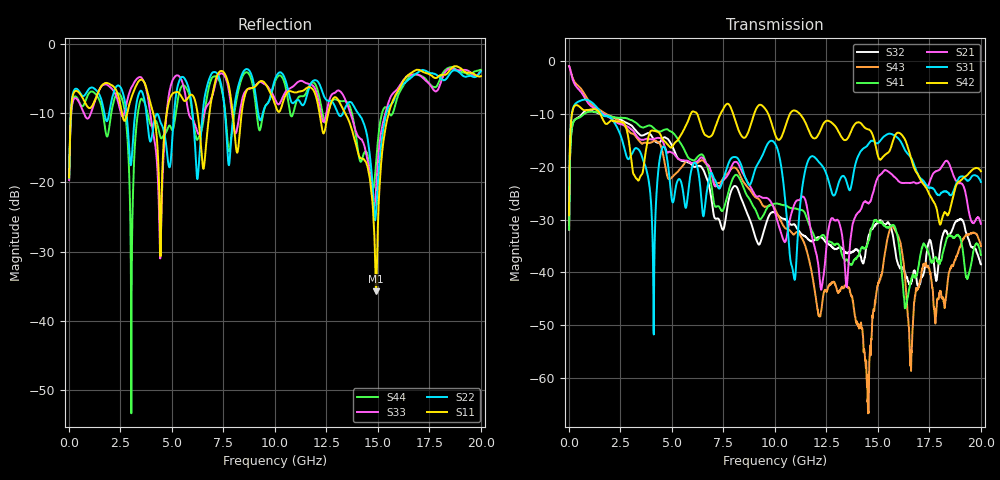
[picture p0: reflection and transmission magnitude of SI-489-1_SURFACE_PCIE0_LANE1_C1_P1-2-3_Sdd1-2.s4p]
! S11 = S11
! S12 = S12
! S13 = S13
! S14 = S14
! S21 = S21
! S22 = S22
! S23 = S23
! S24 = S24
! S31 = S31
! S32 = S32
! S33 = S33
! S34 = S34
! S41 = S41
! S42 = S42
! S43 = S43
! S44 = S44
! FILE: E:\Projects\06_2015\060415_VNA_EOS_MUX_EVAL\SI-481-1_EOS_MUX_EVAL_A0_B0_SEL=0.s4p
!$DUT_CFG_DESC: Default 4-Port Configuration
!$NUMBER_PORTS: 4
!$DIFF_PORT_MAP: 1|2P|2|2P|0|UC|0|UC|
!$PORT_MAP: 1|1|<<<<<<|2|2|>>>>>>|3|3|<<<<<<|4|4|>>>>>>|
# MHz S RI R 50.00
! FREQ  S11  S12  S13  S14
!  S21  S22  S23  S24
!  S31  S32  S33  S34
!  S41  S42  S43  S44
!  REAL  IMAG  REAL  IMAG  REAL  IMAG  REAL  IMAG
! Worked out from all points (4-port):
!   2000 points, 10 MHz to 20 GHz, reference 50 ohm
!   strongest paths, dB at 10 MHz, 5.01 GHz, 10.01 GHz, 15.01 GHz, 20 GHz:
!     S42: -29.3, -16.3, -13.9, -18.1, -20.9
!     S31: -29.3, -26.5, -15.6, -15.5, -22.9
!     S21: -1.0, -17.3, -28.6, -21.9, -30.8
!     S41: -31.9, -13.4, -27.0, -30.4, -36.7
!     S43: -1.0, -22.0, -28.1, -42.1, -35.1
!     S32: -31.9, -16.0, -28.8, -30.6, -38.5
!   lowest |S11| = -35.7 dB at 14.92 GHz (marker M1), VSWR 1.03, Z = 50.7 - j1.51 ohm
!   |S11| at or under -10 dB: 4.096 GHz to 4.746 GHz (649.6 MHz wide, 14.7 % of centre); 6.246 GHz to 6.822 GHz (576.2 MHz wide, 8.82 % of centre); 13.42 GHz to 15.53 GHz (2.112 GHz wide, 14.6 % of centre)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
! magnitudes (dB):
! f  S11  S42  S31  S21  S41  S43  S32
! 10 MHz  -19.3  -29.3  -29.3  -1.0  -31.9  -1.0  -31.9
! 9.88 GHz  -7.7  -12.3  -15.1  -27.1  -27.1  -27.3  -28.6
! 10.92 GHz  -7.0  -9.4  -40.8  -27.4  -27.9  -32.9  -30.9
! 12.26 GHz  -11.8  -12.7  -19.6  -43.2  -33.1  -47.0  -33.4
! 14.92 GHz  -35.7  -16.5  -15.5  -22.8  -30.1  -44.0  -30.8
! 16.24 GHz  -5.3  -14.4  -16.3  -23.1  -43.9  -37.9  -39.4
! 20 GHz  -4.6  -20.9  -22.9  -30.8  -36.7  -35.1  -38.5
